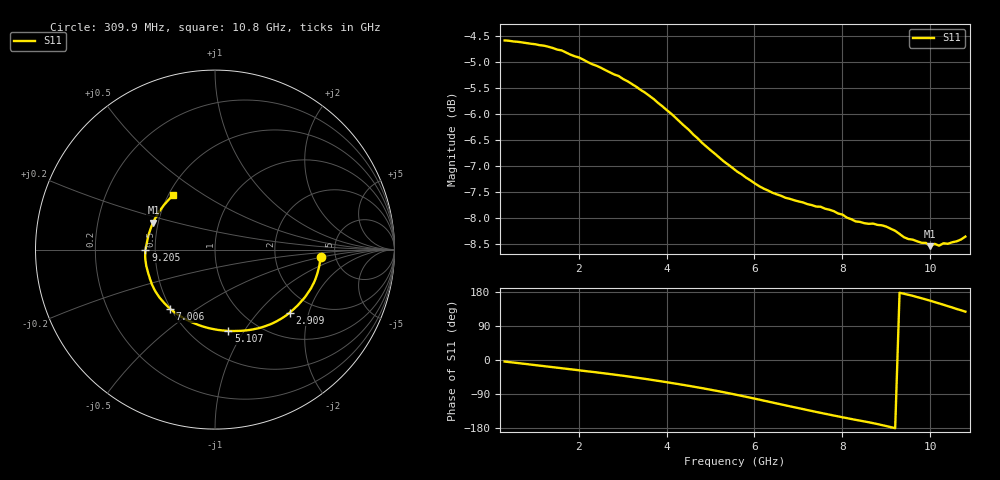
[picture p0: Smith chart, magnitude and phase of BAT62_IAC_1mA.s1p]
! Infineon Technologies  Discrete & RF Semiconductors
! BAT62
! IAC = 1 mA
! One-Port S-Parameters
# Hz  S  MA  R  50
!f  S11
!Hz  Mag  Ang
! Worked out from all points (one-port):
!   106 points, 309.9 MHz to 10.8 GHz, reference 50 ohm
!   lowest |S11| = -8.5 dB at 10.01 GHz (marker M1), VSWR 2.20, Z = 23.5 + j8.2 ohm
!   |S11| at or under -10 dB: nowhere
!   S11 on the Smith chart (normalised r, x): 309.9 MHz: 3.81, -0.49; 2.909 GHz: 1.52, -1.52; 5.107 GHz: 0.74, -0.85; 7.006 GHz: 0.50, -0.39; 9.205 GHz: 0.44, -0.00; 10.8 GHz: 0.53, +0.38
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3.0985e8  0.5901 -4.1
1.0095e9  0.5852 -13.5
1.4093e9  0.5804 -18.9
1.70915e9  0.5746 -23.1
2.4088e9  0.5579 -32.7
2.90855e9  0.5455 -40.1
3.0085e9  0.5419 -41.6
3.70815e9  0.5183 -53.3
4.30785e9  0.4927 -64.3
4.70765e9  0.4752 -72.2
5.10745e9  0.4591 -80.7
5.6072e9  0.4415 -92.3
5.90705e9  0.4331 -99.5
6.30685e9  0.4235 -109.5
6.90655e9  0.4144 -124.7
7.0065e9  0.4133 -127.1
7.6062e9  0.4068 -141.8
8.006e9  0.4015 -151.2
8.2059e9  0.3974 -155.7
8.70565e9  0.3936 -166.7
9.0055e9  0.3909 -174.4
9.2054e9  0.3874 -179.9
9.50525e9  0.3804 172.1
9.8051e9  0.3772 163.0
1.0005e10  0.3744 156.4
1.030485e10  0.3768 145.8
1.050475e10  0.3777 138.6
1.08046e10  0.3824 127.6
